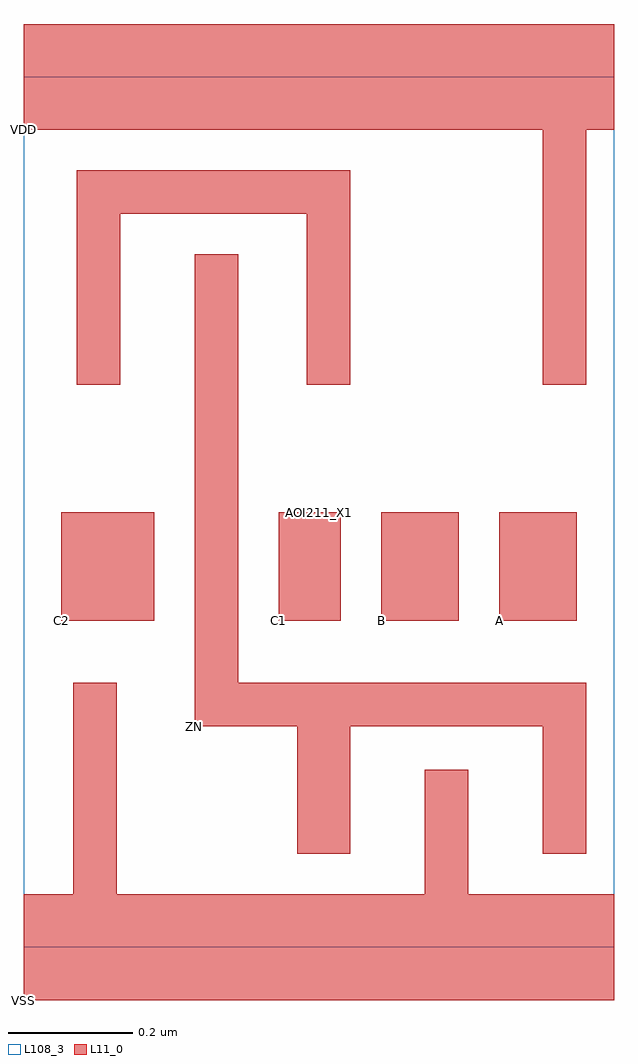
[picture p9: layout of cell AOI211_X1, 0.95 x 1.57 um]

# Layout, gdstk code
import gdstk
lib = gdstk.Library(unit=1e-6, precision=1e-09)
def R(c, l, rs):  # rectangles x0, y0, x1, y1
    for r in rs: c.add(gdstk.rectangle(r[:2], r[2:], *l))
def P(c, l, *ps):  # polygons
    for p in ps: c.add(gdstk.Polygon(p, *l))
L11_0 = (11, 0)
L108_3 = (108, 3)

aoi211_x1 = lib.new_cell('AOI211_X1')
R(aoi211_x1, L11_0, [(0.06,0.525,0.21,0.7), (0.41,0.525,0.51,0.7), (0.575,0.525,0.7,0.7), (0.765,0.525,0.89,0.7)])
P(aoi211_x1, L11_0, [(0.275,0.355),(0.44,0.355),(0.44,0.15),(0.525,0.15),(0.525,0.355),(0.835,0.355),(0.835,0.15),(0.905,0.15),(0.905,0.425),(0.345,0.425),(0.345,1.115),(0.275,1.115)],
  [(0,1.315),(0.525,1.315),(0.835,1.315),(0.835,0.905),(0.905,0.905),(0.905,1.315),(0.95,1.315),(0.95,1.485),(0.525,1.485),(0,1.485)],
  [(0,-0.085),(0.95,-0.085),(0.95,0.085),(0.715,0.085),(0.715,0.285),(0.645,0.285),(0.645,0.085),(0.15,0.085),(0.15,0.425),(0.08,0.425),(0.08,0.085),(0,0.085)],
  [(0.085,0.905),(0.155,0.905),(0.155,1.18),(0.455,1.18),(0.455,0.905),(0.525,0.905),(0.525,1.25),(0.085,1.25)])
R(aoi211_x1, L108_3, [(0,0,0.95,1.4)])
aoi211_x1.add(gdstk.Label('AOI211_X1', (0.475,0.7), layer=108, texttype=3))
aoi211_x1.add(gdstk.Label('A', (0.765,0.525), layer=11, texttype=0))
aoi211_x1.add(gdstk.Label('B', (0.575,0.525), layer=11, texttype=0))
aoi211_x1.add(gdstk.Label('C1', (0.41,0.525), layer=11, texttype=0))
aoi211_x1.add(gdstk.Label('C2', (0.06,0.525), layer=11, texttype=0))
aoi211_x1.add(gdstk.Label('ZN', (0.275,0.355), layer=11, texttype=0))
aoi211_x1.add(gdstk.Label('VDD', (0,1.315), layer=11, texttype=0))
aoi211_x1.add(gdstk.Label('VSS', (0,-0.085), layer=11, texttype=0))

lib.write_gds('AOI211_X1.gds')
